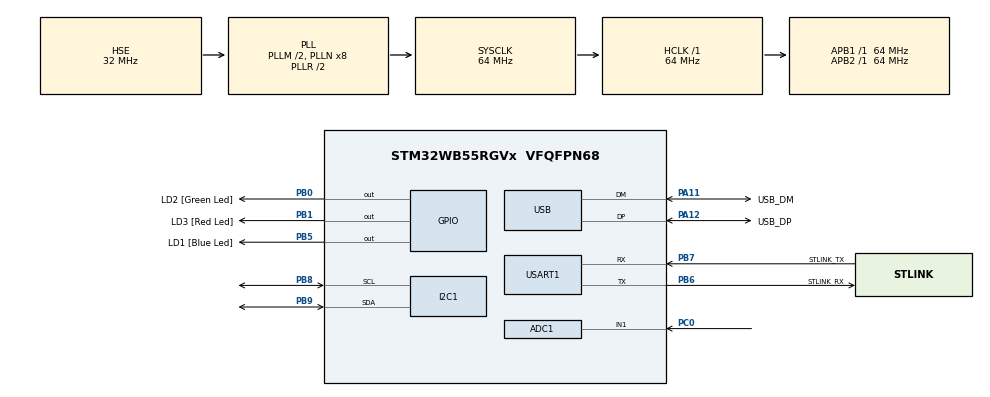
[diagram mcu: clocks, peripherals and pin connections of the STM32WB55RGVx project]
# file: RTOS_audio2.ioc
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ADC1.Channel-0\#ChannelRegularConversion=ADC_CHANNEL_1
ADC1.ContinuousConvMode=ENABLE
ADC1.DMAContinuousRequests=ENABLE
ADC1.NbrOfConversionFlag=1
ADC1.OffsetNumber-0\#ChannelRegularConversion=ADC_OFFSET_NONE
ADC1.Rank-0\#ChannelRegularConversion=1
ADC1.SamplingTime-0\#ChannelRegularConversion=ADC_SAMPLETIME_247CYCLES_5
ADC1.master=1
Dma.ADC1.0.Direction=DMA_PERIPH_TO_MEMORY
Dma.ADC1.0.EventEnable=DISABLE
Dma.ADC1.0.Instance=DMA1_Channel1
Dma.ADC1.0.MemDataAlignment=DMA_MDATAALIGN_HALFWORD
Dma.ADC1.0.MemInc=DMA_MINC_ENABLE
Dma.ADC1.0.Mode=DMA_CIRCULAR
Dma.ADC1.0.PeriphDataAlignment=DMA_PDATAALIGN_HALFWORD
Dma.ADC1.0.PeriphInc=DMA_PINC_DISABLE
Dma.ADC1.0.Polarity=HAL_DMAMUX_REQ_GEN_RISING
Dma.ADC1.0.Priority=DMA_PRIORITY_LOW
Dma.ADC1.0.RequestNumber=1
Dma.ADC1.0.SignalID=NONE
Dma.ADC1.0.SyncEnable=DISABLE
Dma.ADC1.0.SyncPolarity=HAL_DMAMUX_SYNC_NO_EVENT
Dma.ADC1.0.SyncRequestNumber=1
Dma.ADC1.0.SyncSignalID=NONE
Dma.Request0=ADC1
FREERTOS.Mutexes01=TransmitMutex,Dynamic,NULL,Available
FREERTOS.Queues01=AudioQueue,1,uint8_t*,0,Dynamic,NULL,NULL
FREERTOS.Tasks01=Task1,24,1024,task1_handler,Default,NULL,Dynamic,NULL,NULL
FREERTOS.configTICK_RATE_HZ=800
FREERTOS.configTOTAL_HEAP_SIZE=32768
FREERTOS.configUSE_NEWLIB_REENTRANT=1
FREERTOS.configUSE_TIMERS=1
I2C1.Timing=0x10B17DB5
Mcu.Family=STM32WB
Mcu.Name=STM32WB55RGVx
Mcu.Package=VFQFPN68
NVIC.ADC1_IRQn=true\:5\:0\:false\:false\:true\:true\:true\:true\:true
NVIC.DMA1_Channel1_IRQn=true\:5\:0\:false\:false\:true\:true\:false\:true\:true
NVIC.PriorityGroup=NVIC_PRIORITYGROUP_4
NVIC.TIM1_UP_TIM16_IRQn=true\:15\:0\:false\:false\:true\:false\:false\:true\:true
NVIC.TIM2_IRQn=true\:5\:0\:false\:false\:true\:true\:true\:true\:true
NVIC.TimeBase=TIM1_UP_TIM16_IRQn
NVIC.TimeBaseIP=TIM1
NVIC.USB_LP_IRQn=true\:5\:0\:false\:false\:true\:true\:false\:true\:true
OSC_IN.GPIO_Label=RCC_OSC_IN
OSC_IN.Mode=HSE-External-Oscillator
OSC_IN.Signal=RCC_OSC_IN
OSC_OUT.GPIO_Label=RCC_OSC_OUT
OSC_OUT.Mode=HSE-External-Oscillator
OSC_OUT.Signal=RCC_OSC_OUT
PA11.GPIO_Label=USB_DM
PA11.Mode=Device
PA11.Signal=USB_DM
PA12.GPIO_Label=USB_DP
PA12.Mode=Device
PA12.Signal=USB_DP
PB0.GPIO_Label=LD2 [Green Led]
PB0.Signal=GPIO_Output
PB1.GPIO_Label=LD3 [Red Led]
PB1.Signal=GPIO_Output
PB5.GPIO_Label=LD1 [Blue Led]
PB5.Signal=GPIO_Output
PB6.GPIO_Label=STLINK_RX
PB6.Mode=Asynchronous
PB6.Signal=USART1_TX
PB7.GPIO_Label=STLINK_TX
PB7.Mode=Asynchronous
PB7.Signal=USART1_RX
PB8.Mode=I2C
PB8.Signal=I2C1_SCL
PB9.Mode=I2C
PB9.Signal=I2C1_SDA
PC0.Signal=ADCx_IN1
PC14-OSC32_IN.GPIO_Label=RCC_OSC32_IN
PC14-OSC32_IN.Mode=LSE-External-Oscillator
PC14-OSC32_IN.Signal=RCC_OSC32_IN
PC15-OSC32_OUT.GPIO_Label=RCC_OSC32_OUT
PC15-OSC32_OUT.Mode=LSE-External-Oscillator
PC15-OSC32_OUT.Signal=RCC_OSC32_OUT
ProjectManager.HeapSize=0x200
ProjectManager.StackSize=0x400
ProjectManager.TargetToolchain=STM32CubeIDE
RCC.ADCFreq_Value=48000000
RCC.AHB2CLKDivider=RCC_SYSCLK_DIV2
RCC.AHBFreq_Value=64000000
RCC.APB1Freq_Value=64000000
RCC.APB1TimFreq_Value=64000000
RCC.APB2Freq_Value=64000000
RCC.APB2TimFreq_Value=64000000
RCC.APB3Freq_Value=16000000
RCC.CortexFreq_Value=64000000
RCC.HCLKFreq_Value=64000000
RCC.HSE_VALUE=32000000
RCC.HSI48_VALUE=48000000
RCC.HSI_VALUE=16000000
RCC.PLLM=RCC_PLLM_DIV2
RCC.PLLSAI1N=6
RCC.PLLSourceVirtual=RCC_PLLSOURCE_HSE
RCC.SMPSCLockSelection=RCC_SMPSCLKSOURCE_HSI
RCC.SMPSCLockSelectionVirtual=RCC_SMPSCLKSOURCE_HSI
RCC.SMPSCLockSelectionVirtualVirtual=RCC_SMPSCLKSOURCE_HSI
RCC.SMPSDivider=1
RCC.SYSCLKFreq_VALUE=64000000
RCC.SYSCLKSource=RCC_SYSCLKSOURCE_PLLCLK
RCC.USBFreq_Value=48000000
RCC.VCOOutputFreq_Value=128000000
SH.ADCx_IN1.0=ADC1_IN1,IN1-Single-Ended
TIM2.AutoReloadPreload=TIM_AUTORELOAD_PRELOAD_ENABLE
TIM2.Period=3200-1
TIM2.TIM_MasterOutputTrigger=TIM_TRGO_UPDATE
USART1.VirtualMode-Asynchronous=VM_ASYNC
USB_DEVICE.CLASS_NAME_FS=CDC
USB_DEVICE.USBD_DEBUG_LEVEL=2
USB_DEVICE.VirtualMode=Cdc
USB_DEVICE.VirtualModeFS=Cdc_FS
VP_FREERTOS_VS_CMSIS_V2.Mode=CMSIS_V2
VP_MEMORYMAP_VS_MEMORYMAP.Mode=CurAppReg
VP_SYS_VS_tim1.Mode=TIM1
VP_TIM2_VS_ClockSourceINT.Mode=Internal
VP_USB_DEVICE_VS_USB_DEVICE_CDC_FS.Mode=CDC_FS
board=NUCLEO-WB55RG

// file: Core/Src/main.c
/* USER CODE BEGIN Header */
/**
  ******************************************************************************
  * @file           : main.c
  * @brief          : Main program body
  ******************************************************************************
  * @attention
  *
  * Copyright (c) 2025 STMicroelectronics.
  * All rights reserved.
  *
  * This software is licensed under terms that can be found in the LICENSE file
  * in the root directory of this software component.
  * If no LICENSE file comes with this software, it is provided AS-IS.
  *
  ******************************************************************************
  */
/* USER CODE END Header */
#include "main.h"
#include "cmsis_os.h"
#include "usb_device.h"

/* USER CODE BEGIN Includes */
#include <stdio.h>
#include <stdint.h>
#include <string.h>
/* USER CODE END Includes */

ADC_HandleTypeDef hadc1;
DMA_HandleTypeDef hdma_adc1;

I2C_HandleTypeDef hi2c1;

TIM_HandleTypeDef htim2;

UART_HandleTypeDef huart1;

/* Definitions for Task1 */
osThreadId_t Task1Handle;
const osThreadAttr_t Task1_attributes = {
  .name = "Task1",
  .priority = (osPriority_t) osPriorityNormal,
  .stack_size = 1024 * 4
};
/* Definitions for AudioQueue */
osMessageQueueId_t AudioQueueHandle;
const osMessageQueueAttr_t AudioQueue_attributes = {
  .name = "AudioQueue"
};
/* Definitions for TransmitMutex */
osMutexId_t TransmitMutexHandle;
const osMutexAttr_t TransmitMutex_attributes = {
  .name = "TransmitMutex"
};
/* USER CODE BEGIN PV */
char msg[50];
uint16_t ADC_reading = 0;
/* USER CODE END PV */

void SystemClock_Config(void);
void PeriphCommonClock_Config(void);
static void MX_GPIO_Init(void);
static void MX_DMA_Init(void);
static void MX_ADC1_Init(void);
static void MX_I2C1_Init(void);
static void MX_TIM2_Init(void);
static void MX_USART1_UART_Init(void);
void task1_handler(void *argument);

/* USER CODE BEGIN PFP */
void USB_transmit(uint8_t *USB_buffer, size_t length);

/* USER CODE END PFP */

/* USER CODE BEGIN 0 */

void update_data_packet_audio_buffered(uint16_t var1, uint8_t *buffer, size_t *length) {
    // Define the start byte
	if (*length == 0){
		buffer[0] = (uint8_t)-128;
		(*length)++;
	}
    memcpy(&buffer[*length], &var1, sizeof(uint16_t));

    // Set the total length of the packet
    (*length) += sizeof(uint16_t);
}
/* USER CODE END 0 */

int main(void)
{

  /* MCU Configuration--------------------------------------------------------*/

  /* Reset of all peripherals, Initializes the Flash interface and the Systick. */
  HAL_Init();

  /* Configure the system clock */
  SystemClock_Config();

  /* Configure the peripherals common clocks */
  PeriphCommonClock_Config();

  /* Initialize all configured peripherals */
  MX_GPIO_Init();
  MX_DMA_Init();
  MX_ADC1_Init();
  MX_I2C1_Init();
  MX_TIM2_Init();
  MX_USART1_UART_Init();
  /* USER CODE BEGIN 2 */
  HAL_GPIO_WritePin(LD1_GPIO_Port, LD1_Pin, GPIO_PIN_SET);
  HAL_ADC_Start_DMA(&hadc1, (uint32_t*)&ADC_reading, 1);
  HAL_TIM_Base_Start_IT(&htim2);

  /* USER CODE END 2 */

  /* Init scheduler */
  osKernelInitialize();
  /* Create the mutex(es) */
  /* creation of TransmitMutex */
  TransmitMutexHandle = osMutexNew(&TransmitMutex_attributes);

  /* Create the queue(s) */
  /* creation of AudioQueue */
  AudioQueueHandle = osMessageQueueNew (1, sizeof(uint8_t*), &AudioQueue_attributes);

  /* Create the thread(s) */
  /* creation of Task1 */
  Task1Handle = osThreadNew(task1_handler, NULL, &Task1_attributes);

  /* Start scheduler */
  osKernelStart();

  /* We should never get here as control is now taken by the scheduler */

  /* Infinite loop */
  while (1)
  {

  }
}

void SystemClock_Config(void)
{
  RCC_OscInitTypeDef RCC_OscInitStruct = {0};
  RCC_ClkInitTypeDef RCC_ClkInitStruct = {0};

  /** Configure the main internal regulator output voltage
  */
  __HAL_PWR_VOLTAGESCALING_CONFIG(PWR_REGULATOR_VOLTAGE_SCALE1);

  /** Initializes the RCC Oscillators according to the specified parameters
  * in the RCC_OscInitTypeDef structure.
  */
  RCC_OscInitStruct.OscillatorType = RCC_OSCILLATORTYPE_HSI|RCC_OSCILLATORTYPE_HSE;
  RCC_OscInitStruct.HSEState = RCC_HSE_ON;
  RCC_OscInitStruct.HSIState = RCC_HSI_ON;
  RCC_OscInitStruct.HSICalibrationValue = RCC_HSICALIBRATION_DEFAULT;
  RCC_OscInitStruct.PLL.PLLState = RCC_PLL_ON;
  RCC_OscInitStruct.PLL.PLLSource = RCC_PLLSOURCE_HSE;
  RCC_OscInitStruct.PLL.PLLM = RCC_PLLM_DIV2;
  RCC_OscInitStruct.PLL.PLLN = 8;
  RCC_OscInitStruct.PLL.PLLP = RCC_PLLP_DIV2;
  RCC_OscInitStruct.PLL.PLLR = RCC_PLLR_DIV2;
  RCC_OscInitStruct.PLL.PLLQ = RCC_PLLQ_DIV2;
  if (HAL_RCC_OscConfig(&RCC_OscInitStruct) != HAL_OK)
  {
    Error_Handler();
  }

  /** Configure the SYSCLKSource, HCLK, PCLK1 and PCLK2 clocks dividers
  */
  RCC_ClkInitStruct.ClockType = RCC_CLOCKTYPE_HCLK4|RCC_CLOCKTYPE_HCLK2
                              |RCC_CLOCKTYPE_HCLK|RCC_CLOCKTYPE_SYSCLK
                              |RCC_CLOCKTYPE_PCLK1|RCC_CLOCKTYPE_PCLK2;
  RCC_ClkInitStruct.SYSCLKSource = RCC_SYSCLKSOURCE_PLLCLK;
  RCC_ClkInitStruct.AHBCLKDivider = RCC_SYSCLK_DIV1;
  RCC_ClkInitStruct.APB1CLKDivider = RCC_HCLK_DIV1;
  RCC_ClkInitStruct.APB2CLKDivider = RCC_HCLK_DIV1;
  RCC_ClkInitStruct.AHBCLK2Divider = RCC_SYSCLK_DIV2;
  RCC_ClkInitStruct.AHBCLK4Divider = RCC_SYSCLK_DIV1;

  if (HAL_RCC_ClockConfig(&RCC_ClkInitStruct, FLASH_LATENCY_3) != HAL_OK)
  {
    Error_Handler();
  }
}

void PeriphCommonClock_Config(void)
{
  RCC_PeriphCLKInitTypeDef PeriphClkInitStruct = {0};

  /** Initializes the peripherals clock
  */
  PeriphClkInitStruct.PeriphClockSelection = RCC_PERIPHCLK_SMPS|RCC_PERIPHCLK_USB
                              |RCC_PERIPHCLK_ADC;
  PeriphClkInitStruct.PLLSAI1.PLLN = 6;
  PeriphClkInitStruct.PLLSAI1.PLLP = RCC_PLLP_DIV2;
  PeriphClkInitStruct.PLLSAI1.PLLQ = RCC_PLLQ_DIV2;
  PeriphClkInitStruct.PLLSAI1.PLLR = RCC_PLLR_DIV2;
  PeriphClkInitStruct.PLLSAI1.PLLSAI1ClockOut = RCC_PLLSAI1_USBCLK|RCC_PLLSAI1_ADCCLK;
  PeriphClkInitStruct.UsbClockSelection = RCC_USBCLKSOURCE_PLLSAI1;
  PeriphClkInitStruct.AdcClockSelection = RCC_ADCCLKSOURCE_PLLSAI1;
  PeriphClkInitStruct.SmpsClockSelection = RCC_SMPSCLKSOURCE_HSI;
  PeriphClkInitStruct.SmpsDivSelection = RCC_SMPSCLKDIV_RANGE0;

  if (HAL_RCCEx_PeriphCLKConfig(&PeriphClkInitStruct) != HAL_OK)
  {
    Error_Handler();
  }
}

static void MX_ADC1_Init(void)
{

  ADC_ChannelConfTypeDef sConfig = {0};

  /** Common config
  */
  hadc1.Instance = ADC1;
  hadc1.Init.ClockPrescaler = ADC_CLOCK_ASYNC_DIV1;
  hadc1.Init.Resolution = ADC_RESOLUTION_12B;
  hadc1.Init.DataAlign = ADC_DATAALIGN_RIGHT;
  hadc1.Init.ScanConvMode = ADC_SCAN_DISABLE;
  hadc1.Init.EOCSelection = ADC_EOC_SINGLE_CONV;
  hadc1.Init.LowPowerAutoWait = DISABLE;
  hadc1.Init.ContinuousConvMode = ENABLE;
  hadc1.Init.NbrOfConversion = 1;
  hadc1.Init.DiscontinuousConvMode = DISABLE;
  hadc1.Init.ExternalTrigConv = ADC_SOFTWARE_START;
  hadc1.Init.ExternalTrigConvEdge = ADC_EXTERNALTRIGCONVEDGE_NONE;
  hadc1.Init.DMAContinuousRequests = ENABLE;
  hadc1.Init.Overrun = ADC_OVR_DATA_PRESERVED;
  hadc1.Init.OversamplingMode = DISABLE;
  if (HAL_ADC_Init(&hadc1) != HAL_OK)
  {
    Error_Handler();
  }

  /** Configure Regular Channel
  */
  sConfig.Channel = ADC_CHANNEL_1;
  sConfig.Rank = ADC_REGULAR_RANK_1;
  sConfig.SamplingTime = ADC_SAMPLETIME_247CYCLES_5;
  sConfig.SingleDiff = ADC_SINGLE_ENDED;
  sConfig.OffsetNumber = ADC_OFFSET_NONE;
  sConfig.Offset = 0;
  if (HAL_ADC_ConfigChannel(&hadc1, &sConfig) != HAL_OK)
  {
    Error_Handler();
  }

}

static void MX_I2C1_Init(void)
{

  hi2c1.Instance = I2C1;
  hi2c1.Init.Timing = 0x10B17DB5;
  hi2c1.Init.OwnAddress1 = 0;
  hi2c1.Init.AddressingMode = I2C_ADDRESSINGMODE_7BIT;
  hi2c1.Init.DualAddressMode = I2C_DUALADDRESS_DISABLE;
  hi2c1.Init.OwnAddress2 = 0;
  hi2c1.Init.OwnAddress2Masks = I2C_OA2_NOMASK;
  hi2c1.Init.GeneralCallMode = I2C_GENERALCALL_DISABLE;
  hi2c1.Init.NoStretchMode = I2C_NOSTRETCH_DISABLE;
  if (HAL_I2C_Init(&hi2c1) != HAL_OK)
  {
    Error_Handler();
  }

  /** Configure Analogue filter
  */
  if (HAL_I2CEx_ConfigAnalogFilter(&hi2c1, I2C_ANALOGFILTER_ENABLE) != HAL_OK)
  {
    Error_Handler();
  }

  /** Configure Digital filter
  */
  if (HAL_I2CEx_ConfigDigitalFilter(&hi2c1, 0) != HAL_OK)
  {
    Error_Handler();
  }

}

static void MX_TIM2_Init(void)
{

  TIM_ClockConfigTypeDef sClockSourceConfig = {0};
  TIM_MasterConfigTypeDef sMasterConfig = {0};

  htim2.Instance = TIM2;
  htim2.Init.Prescaler = 0;
  htim2.Init.CounterMode = TIM_COUNTERMODE_UP;
  htim2.Init.Period = 3200-1;
  htim2.Init.ClockDivision = TIM_CLOCKDIVISION_DIV1;
  htim2.Init.AutoReloadPreload = TIM_AUTORELOAD_PRELOAD_ENABLE;
  if (HAL_TIM_Base_Init(&htim2) != HAL_OK)
  {
    Error_Handler();
  }
  sClockSourceConfig.ClockSource = TIM_CLOCKSOURCE_INTERNAL;
  if (HAL_TIM_ConfigClockSource(&htim2, &sClockSourceConfig) != HAL_OK)
  {
    Error_Handler();
  }
  sMasterConfig.MasterOutputTrigger = TIM_TRGO_UPDATE;
  sMasterConfig.MasterSlaveMode = TIM_MASTERSLAVEMODE_DISABLE;
  if (HAL_TIMEx_MasterConfigSynchronization(&htim2, &sMasterConfig) != HAL_OK)
  {
    Error_Handler();
  }

}

static void MX_USART1_UART_Init(void)
{

  huart1.Instance = USART1;
  huart1.Init.BaudRate = 115200;
  huart1.Init.WordLength = UART_WORDLENGTH_8B;
  huart1.Init.StopBits = UART_STOPBITS_1;
  huart1.Init.Parity = UART_PARITY_NONE;
  huart1.Init.Mode = UART_MODE_TX_RX;
  huart1.Init.HwFlowCtl = UART_HWCONTROL_NONE;
  huart1.Init.OverSampling = UART_OVERSAMPLING_16;
  huart1.Init.OneBitSampling = UART_ONE_BIT_SAMPLE_DISABLE;
  huart1.Init.ClockPrescaler = UART_PRESCALER_DIV1;
  huart1.AdvancedInit.AdvFeatureInit = UART_ADVFEATURE_NO_INIT;
  if (HAL_UART_Init(&huart1) != HAL_OK)
  {
    Error_Handler();
  }
  if (HAL_UARTEx_SetTxFifoThreshold(&huart1, UART_TXFIFO_THRESHOLD_1_8) != HAL_OK)
  {
    Error_Handler();
  }
  if (HAL_UARTEx_SetRxFifoThreshold(&huart1, UART_RXFIFO_THRESHOLD_1_8) != HAL_OK)
  {
    Error_Handler();
  }
  if (HAL_UARTEx_DisableFifoMode(&huart1) != HAL_OK)
  {
    Error_Handler();
  }

}

static void MX_DMA_Init(void)
{

  /* DMA controller clock enable */
  __HAL_RCC_DMAMUX1_CLK_ENABLE();
  __HAL_RCC_DMA1_CLK_ENABLE();

  /* DMA interrupt init */
  /* DMA1_Channel1_IRQn interrupt configuration */
  HAL_NVIC_SetPriority(DMA1_Channel1_IRQn, 5, 0);
  HAL_NVIC_EnableIRQ(DMA1_Channel1_IRQn);

}

static void MX_GPIO_Init(void)
{
  GPIO_InitTypeDef GPIO_InitStruct = {0};

  /* GPIO Ports Clock Enable */
  __HAL_RCC_GPIOC_CLK_ENABLE();
  __HAL_RCC_GPIOB_CLK_ENABLE();
  __HAL_RCC_GPIOA_CLK_ENABLE();

  /*Configure GPIO pin Output Level */
  HAL_GPIO_WritePin(GPIOB, LD2_Pin|LD3_Pin|LD1_Pin, GPIO_PIN_RESET);

  /*Configure GPIO pins : LD2_Pin LD3_Pin LD1_Pin */
  GPIO_InitStruct.Pin = LD2_Pin|LD3_Pin|LD1_Pin;
  GPIO_InitStruct.Mode = GPIO_MODE_OUTPUT_PP;
  GPIO_InitStruct.Pull = GPIO_NOPULL;
  GPIO_InitStruct.Speed = GPIO_SPEED_FREQ_LOW;
  HAL_GPIO_Init(GPIOB, &GPIO_InitStruct);

}

/* USER CODE BEGIN 4 */
void USB_transmit(uint8_t *buffer, size_t length){
	osStatus_t status;

	osMutexAcquire(TransmitMutexHandle, osWaitForever);
	status = CDC_Transmit_FS(buffer, length);
	osMutexRelease(TransmitMutexHandle);

	if (status != osOK){
		//HAL_GPIO_TogglePin(LD3_GPIO_Port, LD3_Pin);
		//HAL_GPIO_WritePin(LD3_GPIO_Port, LD3_Pin, GPIO_PIN_SET);
		//sprintf(msg, "Error, status code: %d \r\n", status);
		//sprintf(msg, "Error");
		//HAL_UART_Transmit(&huart1, (uint8_t *) msg, strlen(msg), HAL_MAX_DELAY);

	}
}
/* USER CODE END 4 */

void task1_handler(void *argument)
{
  /* init code for USB_Device */
  MX_USB_Device_Init();
  /* USER CODE BEGIN 5 */
  size_t length = 2*AUDIO_PACKET_SIZE+1; //buffer length in bytes
  //uint16_t test = 0;
  uint8_t* buffer;

  /* Infinite loop */
  for(;;)
  {
	  osThreadFlagsWait(0x01, osFlagsWaitAny, osWaitForever);
	  //sprintf(msg, "task1_unblocked \r\n\n");
	  //HAL_UART_Transmit(&huart1, (uint8_t *) msg, strlen(msg), HAL_MAX_DELAY);
	  HAL_GPIO_TogglePin(LD2_GPIO_Port, LD2_Pin);

//	  test = osMessageQueueGetCount(AudioQueueHandle);
//	  sprintf(msg, "queue accessed - %d in queue\r\n", test);
//	  HAL_UART_Transmit(&huart1, (uint8_t *) msg, strlen(msg), HAL_MAX_DELAY);

	  osMessageQueueGet(AudioQueueHandle, &buffer, NULL, osWaitForever);
	  //sprintf(msg, "buffer received: %d \r\n", buffer[50]);
	  //HAL_UART_Transmit(&huart1, (uint8_t *) msg, strlen(msg), HAL_MAX_DELAY);

	  USB_transmit(buffer, length);

	  //sprintf(msg, "task1_finished \r\n\n");
	  //HAL_UART_Transmit(&huart1, (uint8_t *) msg, strlen(msg), HAL_MAX_DELAY);
  }
  /* USER CODE END 5 */
}

void HAL_TIM_PeriodElapsedCallback(TIM_HandleTypeDef *htim)
{
  if (htim->Instance == TIM1) {
    HAL_IncTick();
  }
  /* USER CODE BEGIN Callback 1 */
  if (htim->Instance == TIM2) {
	static uint16_t sample_count = 0;
	static uint8_t buffer1[2*AUDIO_PACKET_SIZE+1];
	buffer1[0] = (uint8_t)-128;
	static uint8_t buffer2[2*AUDIO_PACKET_SIZE+1];
	buffer2[0] = (uint8_t)-128;
	static uint8_t *active_buffer = buffer1;
	static uint8_t *passive_buffer = buffer2;
	osStatus_t status;

	//update buffer
	//memcpy(&active_buffer[2*sample_count+1], &sample_count, sizeof(uint16_t));
	memcpy(&active_buffer[2*sample_count+1], &ADC_reading, sizeof(uint16_t));

	sample_count++;

	// Use the local counter to determine when to signal
	if(sample_count == AUDIO_PACKET_SIZE)
	{
		status = osMessageQueuePut(AudioQueueHandle, (const void*)&active_buffer, 0, 0);
		if (status != osOK){
			HAL_GPIO_TogglePin(LD3_GPIO_Port, LD3_Pin);
		}
		//swap buffers so buffer points to the other buffer
		uint8_t *temp = active_buffer;
		active_buffer = passive_buffer;
		passive_buffer = temp;
		sample_count = 0;
		osThreadFlagsSet(Task1Handle, 0x01);
	}
  }
	//sprintf(msg, "Put on queue - %d \r\n", sample_count);
	//HAL_UART_Transmit(&huart1, (uint8_t *) msg, strlen(msg), HAL_MAX_DELAY);
  /* USER CODE END Callback 1 */
}

void Error_Handler(void)
{
  __disable_irq();
  while (1)
  {
  }
}
